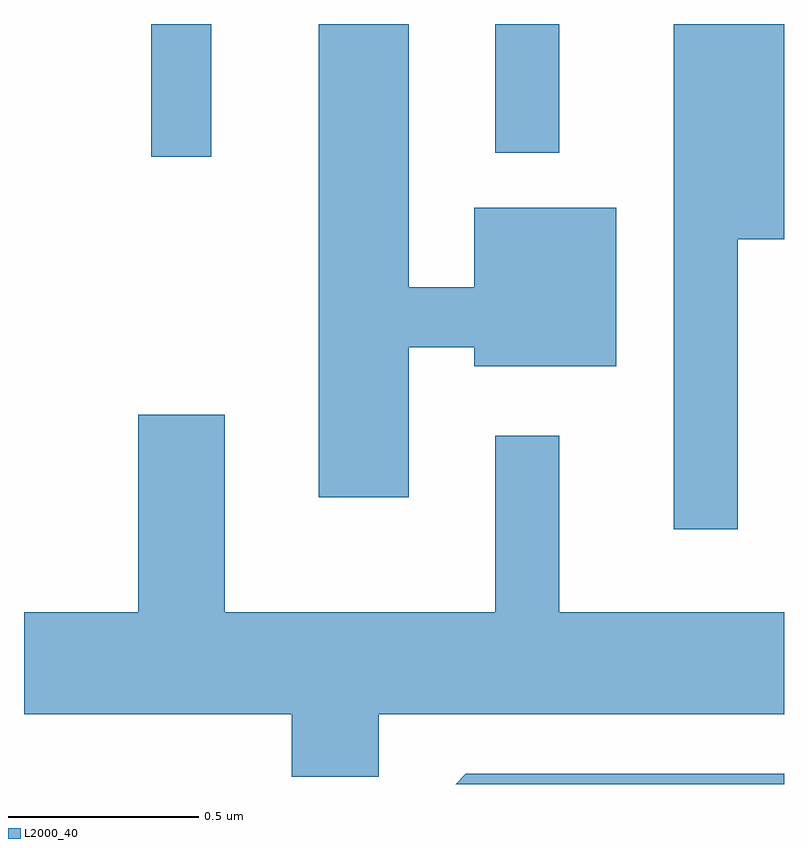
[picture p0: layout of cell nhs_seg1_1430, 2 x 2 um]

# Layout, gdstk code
import gdstk
lib = gdstk.Library(unit=1e-6, precision=1e-09)
def R(c, l, rs):  # rectangles x0, y0, x1, y1
    for r in rs: c.add(gdstk.rectangle(r[:2], r[2:], *l))
def P(c, l, *ps):  # polygons
    for p in ps: c.add(gdstk.Polygon(p, *l))
L2000_40 = (2000, 40)

nhs_seg1_1430 = lib.new_cell('nhs_seg1_1430')
R(nhs_seg1_1430, L2000_40, [(195.946,914.363,196.104,914.712), (196.851,914.373,197.019,914.712)])
P(nhs_seg1_1430, L2000_40, [(197.489,914.146),(197.611,914.146),(197.611,914.712),(197.321,914.712),(197.321,913.383),(197.489,913.383)],
  [(196.624,913.861),(196.796,913.861),(196.796,913.811),(197.169,913.811),(197.169,914.229),(196.796,914.229),(196.796,914.019),(196.624,914.019),(196.624,914.712),(196.386,914.712),(196.386,913.466),(196.624,913.466)],
  [(196.544,912.896),(197.611,912.896),(197.611,913.164),(197.019,913.164),(197.019,913.628),(196.851,913.628),(196.851,913.164),(196.139,913.164),(196.139,913.684),(195.911,913.684),(195.911,913.164),(195.611,913.164),(195.611,912.896),(196.316,912.896),(196.316,912.731),(196.544,912.731)],
  [(197.611,912.739),(196.774,912.739),(196.747,912.712),(197.611,912.712)])

lib.write_gds('nhs_seg1_1430.gds')
